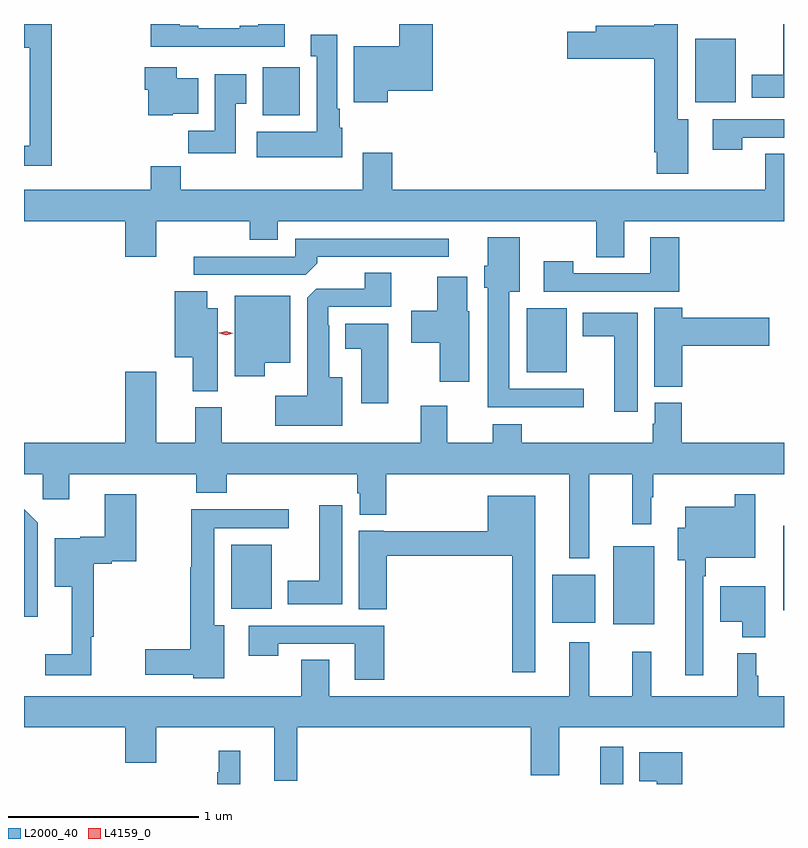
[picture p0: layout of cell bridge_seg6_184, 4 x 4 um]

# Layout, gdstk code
import gdstk
lib = gdstk.Library(unit=1e-6, precision=1e-09)
def R(c, l, rs):  # rectangles x0, y0, x1, y1
    for r in rs: c.add(gdstk.rectangle(r[:2], r[2:], *l))
def P(c, l, *ps):  # polygons
    for p in ps: c.add(gdstk.Polygon(p, *l))
L2000_40 = (2000, 40)
L4159_0 = (4159, 0)

bridge_seg6_184 = lib.new_cell('bridge_seg6_184')
R(bridge_seg6_184, L2000_40, [(335.339,933.717,335.461,933.913), (335.408,934.559,335.623,934.969), (335.087,934.565,335.314,934.819), (336.302,934.632,336.307,935.076), (333.398,934.64,333.61,934.975), (334.952,935.885,335.164,936.22), (333.563,937.238,333.759,937.489), (335.84,937.304,336.052,937.639)])
P(bridge_seg6_184, L2000_40, [(336.307,937.717),(336.302,937.717),(336.302,937.45),(336.137,937.45),(336.137,937.328),(336.307,937.328)],
  [(335.803,937.216),(335.749,937.216),(335.749,937.717),(335.624,937.717),(335.624,937.707),(335.315,937.707),(335.315,937.677),(335.166,937.677),(335.166,937.535),(335.624,937.535),(335.624,937.042),(335.636,937.042),(335.636,936.93),(335.803,936.93)],
  [(333.679,937.717),(333.539,937.717),(333.539,937.708),(333.443,937.708),(333.443,937.695),(333.223,937.695),(333.223,937.708),(333.127,937.708),(333.127,937.717),(332.975,937.717),(332.975,937.598),(333.679,937.598)],
  [(332.453,937.717),(332.307,937.717),(332.307,937.593),(332.337,937.593),(332.337,937.077),(332.307,937.077),(332.307,936.972),(332.453,936.972)],
  [(334.222,937.367),(334.457,937.367),(334.457,937.716),(334.283,937.716),(334.283,937.6),(334.043,937.6),(334.043,937.304),(334.222,937.304)],
  [(333.982,937.17),(333.97,937.17),(333.97,937.27),(333.955,937.27),(333.955,937.66),(333.815,937.66),(333.815,937.547),(333.848,937.547),(333.848,937.15),(333.531,937.15),(333.531,937.016),(333.982,937.016)],
  [(333.09,937.244),(333.223,937.244),(333.223,937.432),(333.112,937.432),(333.112,937.489),(332.942,937.489),(332.942,937.371),(332.96,937.371),(332.96,937.238),(333.09,937.238)],
  [(333.421,937.297),(333.478,937.297),(333.478,937.453),(333.311,937.453),(333.311,937.156),(333.172,937.156),(333.172,937.038),(333.421,937.038)],
  [(336.087,937.119),(336.307,937.119),(336.307,937.215),(335.931,937.215),(335.931,937.056),(336.087,937.056)],
  [(335.467,936.68),(336.307,936.68),(336.307,937.034),(336.208,937.034),(336.208,936.844),(334.244,936.844),(334.244,937.039),(334.091,937.039),(334.091,936.844),(333.131,936.844),(333.131,936.968),(332.975,936.968),(332.975,936.844),(332.307,936.844),(332.307,936.68),(332.84,936.68),(332.84,936.492),(333.004,936.492),(333.004,936.68),(333.496,936.68),(333.496,936.581),(333.643,936.581),(333.643,936.68),(335.32,936.68),(335.32,936.49),(335.467,936.49)],
  [(335.254,935.796),(334.861,935.796),(334.861,936.308),(334.915,936.308),(334.915,936.595),(334.748,936.595),(334.748,936.444),(334.73,936.444),(334.73,936.33),(334.748,936.33),(334.748,935.699),(335.254,935.699)],
  [(335.756,936.595),(335.603,936.595),(335.603,936.405),(335.199,936.405),(335.199,936.469),(335.043,936.469),(335.043,936.309),(335.756,936.309)],
  [(333.851,936.458),(333.851,936.492),(334.543,936.492),(334.543,936.588),(333.735,936.588),(333.735,936.492),(333.201,936.492),(333.201,936.396),(333.789,936.396)],
  [(333.982,935.857),(333.913,935.857),(333.913,936.131),(333.909,936.131),(333.909,936.228),(334.24,936.228),(334.24,936.407),(334.1,936.407),(334.1,936.324),(333.846,936.324),(333.797,936.275),(333.797,935.761),(333.63,935.761),(333.63,935.603),(333.982,935.603)],
  [(334.651,936.204),(334.639,936.204),(334.639,936.388),(334.481,936.388),(334.481,936.208),(334.344,936.208),(334.344,936.039),(334.496,936.039),(334.496,935.835),(334.651,935.835)],
  [(333.328,936.22),(333.271,936.22),(333.271,936.311),(333.101,936.311),(333.101,935.963),(333.194,935.963),(333.194,935.785),(333.328,935.785)],
  [(333.574,935.933),(333.709,935.933),(333.709,936.286),(333.416,936.286),(333.416,935.862),(333.574,935.862)],
  [(335.771,936.023),(336.229,936.023),(336.229,936.17),(335.771,936.17),(335.771,936.224),(335.624,936.224),(335.624,935.809),(335.771,935.809)],
  [(335.536,936.196),(335.249,936.196),(335.249,936.074),(335.414,936.074),(335.414,935.676),(335.536,935.676)],
  [(334.225,936.139),(333.998,936.139),(333.998,936.008),(334.082,936.008),(334.082,935.721),(334.225,935.721)],
  [(334.928,935.611),(334.775,935.611),(334.775,935.512),(334.534,935.512),(334.534,935.707),(334.394,935.707),(334.394,935.512),(333.349,935.512),(333.349,935.7),(333.209,935.7),(333.209,935.512),(333.004,935.512),(333.004,935.887),(332.84,935.887),(332.84,935.512),(332.307,935.512),(332.307,935.348),(332.406,935.348),(332.406,935.217),(332.545,935.217),(332.545,935.348),(333.214,935.348),(333.214,935.249),(333.374,935.249),(333.374,935.348),(334.061,935.348),(334.061,935.247),(334.073,935.247),(334.073,935.135),(334.214,935.135),(334.214,935.348),(335.177,935.348),(335.177,934.904),(335.281,934.904),(335.281,935.348),(335.509,935.348),(335.509,935.085),(335.608,935.085),(335.608,935.225),(335.62,935.225),(335.62,935.348),(336.307,935.348),(336.307,935.512),(335.768,935.512),(335.768,935.724),(335.627,935.724),(335.627,935.613),(335.615,935.613),(335.615,935.512),(334.928,935.512)],
  [(335.883,934.811),(335.896,934.811),(335.896,934.907),(336.156,934.907),(336.156,935.242),(336.048,935.242),(336.048,935.176),(335.786,935.176),(335.786,935.065),(335.747,935.065),(335.747,934.895),(335.786,934.895),(335.786,934.29),(335.883,934.29)],
  [(332.66,934.493),(332.675,934.493),(332.675,934.877),(332.769,934.877),(332.769,934.889),(332.898,934.889),(332.898,935.242),(332.732,935.242),(332.732,935.019),(332.604,935.019),(332.604,935.011),(332.468,935.011),(332.468,934.754),(332.558,934.754),(332.558,934.399),(332.418,934.399),(332.418,934.29),(332.66,934.29)],
  [(334.999,935.233),(334.748,935.233),(334.748,935.047),(334.2,935.047),(334.2,935.05),(334.07,935.05),(334.07,934.636),(334.217,934.636),(334.217,934.918),(334.878,934.918),(334.878,934.305),(334.999,934.305)],
  [(333.982,935.185),(333.86,935.185),(333.86,934.786),(333.695,934.786),(333.695,934.664),(333.982,934.664)],
  [(332.379,935.091),(332.307,935.163),(332.307,934.596),(332.379,934.596)],
  [(333.361,934.552),(333.307,934.552),(333.307,935.064),(333.7,935.064),(333.7,935.162),(333.187,935.162),(333.187,934.857),(333.182,934.857),(333.182,934.427),(332.946,934.427),(332.946,934.292),(333.198,934.292),(333.198,934.274),(333.361,934.274)],
  [(336.208,934.759),(335.972,934.759),(335.972,934.571),(336.086,934.571),(336.086,934.49),(336.208,934.49)],
  [(334.202,934.551),(333.489,934.551),(333.489,934.392),(333.645,934.392),(333.645,934.455),(334.049,934.455),(334.049,934.266),(334.202,934.266)],
  [(333.745,934.016),(334.973,934.016),(334.973,933.764),(335.125,933.764),(335.125,934.016),(336.307,934.016),(336.307,934.18),(336.172,934.18),(336.172,934.287),(336.16,934.287),(336.16,934.405),(336.062,934.405),(336.062,934.18),(335.609,934.18),(335.609,934.414),(335.509,934.414),(335.509,934.18),(335.281,934.18),(335.281,934.462),(335.177,934.462),(335.177,934.18),(333.913,934.18),(333.913,934.37),(333.766,934.37),(333.766,934.18),(332.307,934.18),(332.307,934.016),(332.84,934.016),(332.84,933.828),(333.004,933.828),(333.004,934.016),(333.623,934.016),(333.623,933.735),(333.745,933.735)],
  [(333.445,933.892),(333.331,933.892),(333.331,933.779),(333.324,933.779),(333.324,933.717),(333.445,933.717)],
  [(335.771,933.883),(335.546,933.883),(335.546,933.731),(335.636,933.731),(335.636,933.717),(335.771,933.717)])
P(bridge_seg6_184, L4159_0, [(333.371,936.08),(333.335,936.09),(333.334,936.091),(333.335,936.091),(333.371,936.1),(333.408,936.09),(333.408,936.09),(333.408,936.09)])

lib.write_gds('bridge_seg6_184.gds')
